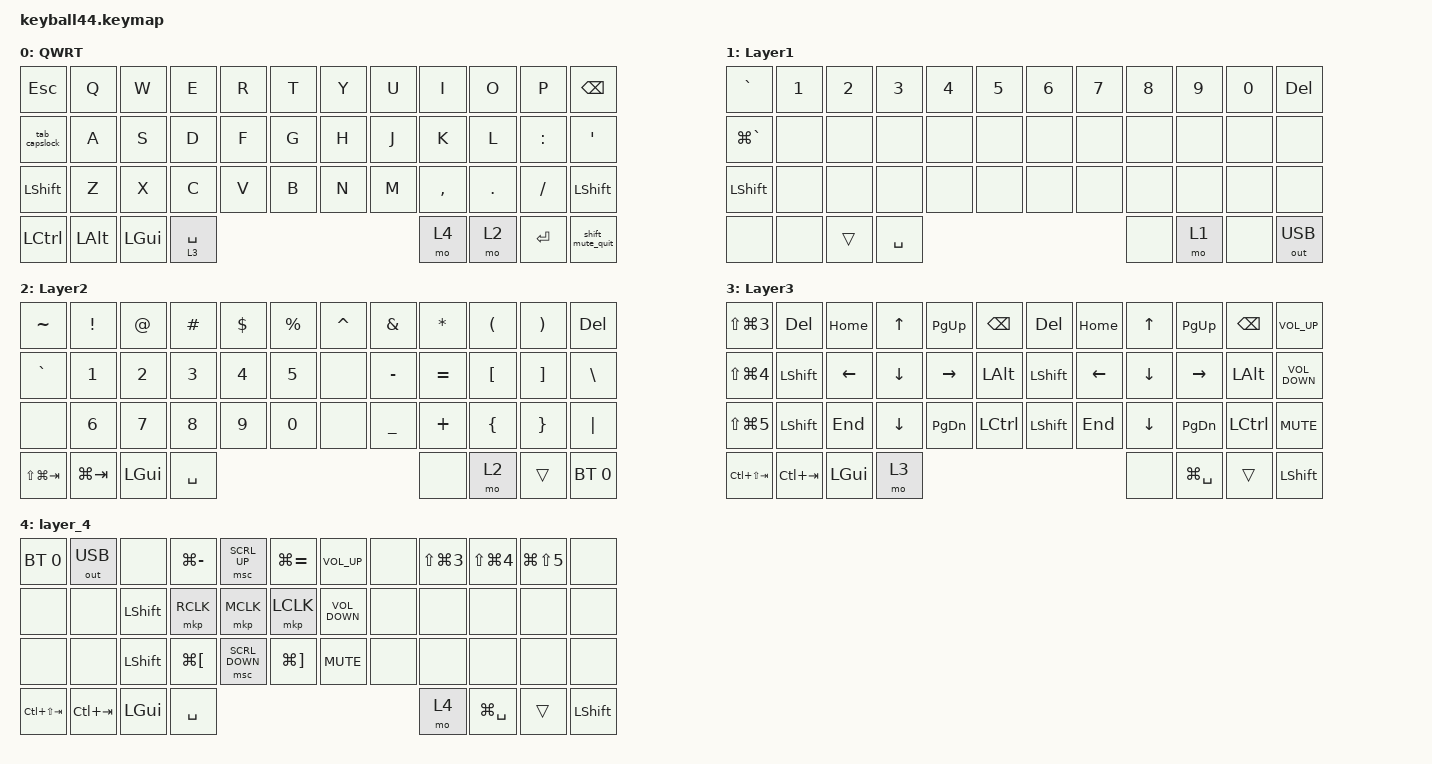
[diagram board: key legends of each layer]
#define DEFAULT 0
#define NUM     1
#define SYM     2
#define FUN     3
#define MOUSE   4
#define SCROLL  5
#define SNIPE   6

#include <behaviors/mouse_keys.dtsi>
#include <dt-bindings/zmk/mouse.h>
#include <behaviors.dtsi>
#include <dt-bindings/zmk/bt.h>
#include <dt-bindings/zmk/keys.h>
#include <dt-bindings/zmk/outputs.h>
#include <dt-bindings/zmk/pointing.h>

&lt {
    tapping-term-ms = <240>;
    flavor = "balanced";
    quick-tap-ms = <150>;
};

&mt {
    tapping-term-ms = <200>;
    flavor = "tap-preferred";
    quick-tap-ms = <150>;
};

&caps_word { continue-list = <UNDERSCORE MINUS>; };

/ {
    // custom shift using mod-morph 

    behaviors {
        cmqus: comma_question {
            compatible = "zmk,behavior-mod-morph";
            label = "COMMA_QUESTION";
            #binding-cells = <0>;
            bindings = <&kp COMMA>, <&kp QUESTION>;

            mods = <(MOD_LSFT|MOD_RSFT)>;
        };

        dtsmi: dot_semi {
            compatible = "zmk,behavior-mod-morph";
            label = "DOT_SEMI";
            #binding-cells = <0>;
            bindings = <&kp DOT>, <&kp SEMI>;

            mods = <(MOD_LSFT|MOD_RSFT)>;
        };

        shift_control: shift_control {
            compatible = "zmk,behavior-tap-dance";
            label = "SHIFT_CONTROL";
            #binding-cells = <0>;
            bindings = <&kp LEFT_SHIFT>, <&kp LEFT_CONTROL>;
        };

        tab_capslock: tab_capslock {
            compatible = "zmk,behavior-tap-dance";
            label = "TAB_CAPSLOCK";
            #binding-cells = <0>;
            bindings = <&kp TAB>, <&kp CAPSLOCK>;
        };

        shift_mute_quit: shift_mute_quit {
            compatible = "zmk,behavior-tap-dance";
            label = "SHIFT_MUTE_QUIT";
            #binding-cells = <0>;
            bindings =
                <&kp LEFT_SHIFT>,
                <&none>,
                <&kp LC(LG(C_MUTE))>,
                <&none>,
                <&kp LC(LG(Q))>;
        };
    };

    keymap {
        compatible = "zmk,keymap";

        default_layer {
            label = "QWRT";
            bindings = <
&kp ESCAPE        &kp Q         &kp W         &kp E        &kp R  &kp T             &kp Y      &kp U  &kp I      &kp O    &kp P      &kp BACKSPACE
&tab_capslock     &kp A         &kp S         &kp D        &kp F  &kp G             &kp H      &kp J  &kp K      &kp L    &kp COLON  &kp SQT
&kp LEFT_SHIFT    &kp Z         &kp X         &kp C        &kp V  &kp B             &kp N      &kp M  &kp COMMA  &kp DOT  &kp SLASH  &kp LEFT_SHIFT
&kp LEFT_CONTROL  &kp LEFT_ALT  &kp LEFT_GUI  &lt 3 SPACE  &mo 4             &mo 2  &kp ENTER                                        &shift_mute_quit
            >;
        };

        layer_1 {
            label = "Layer1";
            bindings = <
&kp GRAVE       &kp NUMBER_1  &kp NUMBER_2  &kp NUMBER_3  &kp NUMBER_4  &kp NUMBER_5             &kp NUMBER_6  &kp NUMBER_7  &kp NUMBER_8  &kp NUMBER_9  &kp NUMBER_0  &kp DELETE
&kp LG(GRAVE)   &none         &none         &none         &none         &none                    &none         &none         &none         &none         &none         &none
&kp LEFT_SHIFT  &none         &none         &none         &none         &none                    &none         &none         &none         &none         &none         &none
&none           &none         &trans        &kp SPACE     &none                           &mo 1  &none                                                                 &out OUT_USB
            >;
        };

        layer_2 {
            label = "Layer2";
            bindings = <
&kp TILDE        &kp EXCLAMATION  &kp AT_SIGN   &kp HASH      &kp DOLLAR    &kp PERCENT             &kp CARET  &kp AMPERSAND   &kp ASTERISK  &kp LEFT_PARENTHESIS  &kp RIGHT_PARENTHESIS  &kp DEL
&kp GRAVE        &kp NUMBER_1     &kp NUMBER_2  &kp NUMBER_3  &kp NUMBER_4  &kp N5                  &none      &kp MINUS       &kp EQUAL     &kp LEFT_BRACKET      &kp RIGHT_BRACKET      &kp BACKSLASH
&none            &kp NUMBER_6     &kp N7        &kp N8        &kp N9        &kp N0                  &none      &kp UNDERSCORE  &kp PLUS      &kp LEFT_BRACE        &kp RIGHT_BRACE        &kp PIPE
&kp LS(LG(TAB))  &kp LG(TAB)      &kp LEFT_GUI  &kp SPACE     &none                          &mo 2  &trans                                                                                &bt BT_SEL 0
            >;
        };

        layer_3 {
            label = "Layer3";
            bindings = <
&kp LS(LG(N3))   &kp DELETE      &kp HOME        &kp UP_ARROW    &kp PG_UP        &kp BACKSPACE                        &kp DELETE      &kp HOME  &kp UP_ARROW    &kp PG_UP        &kp BACKSPACE     &kp C_VOLUME_UP
&kp LS(LG(N4))   &kp LEFT_SHIFT  &kp LEFT_ARROW  &kp DOWN_ARROW  &kp RIGHT_ARROW  &kp LEFT_ALT                         &kp LEFT_SHIFT  &kp LEFT  &kp DOWN_ARROW  &kp RIGHT_ARROW  &kp LEFT_ALT      &kp C_VOLUME_DOWN
&kp LS(LG(N5))   &kp LEFT_SHIFT  &kp END         &kp DOWN_ARROW  &kp PG_DN        &kp LEFT_CONTROL                     &kp LEFT_SHIFT  &kp END   &kp DOWN_ARROW  &kp PG_DN        &kp LEFT_CONTROL  &kp K_MUTE
&kp LC(LS(TAB))  &kp LC(TAB)     &kp LEFT_GUI    &mo 3           &none                                  &kp LG(SPACE)  &trans                                                                       &kp LEFT_SHIFT
            >;
        };

        layer_4 {
            bindings = <
&bt BT_SEL 0     &out OUT_USB  &none           &kp LG(MINUS)         &msc SCRL_UP    &kp LG(EQUAL)                             &kp C_VOLUME_UP    &none  &kp LS(LG(NUMBER_3))  &kp LS(LG(NUMBER_4))  &kp LG(LS(N5))  &none
&none            &none         &kp LEFT_SHIFT  &mkp RCLK             &mkp MCLK       &mkp LCLK                                 &kp C_VOLUME_DOWN  &none  &none                 &none                 &none           &none
&none            &none         &kp LEFT_SHIFT  &kp LG(LEFT_BRACKET)  &msc SCRL_DOWN  &kp LG(RIGHT_BRACKET)                     &kp K_MUTE         &none  &none                 &none                 &none           &none
&kp LC(LS(TAB))  &kp LC(TAB)   &kp LEFT_GUI    &kp SPACE             &mo 4                                      &kp LG(SPACE)  &trans                                                                                &kp LEFT_SHIFT
            >;
        };
    };
};
